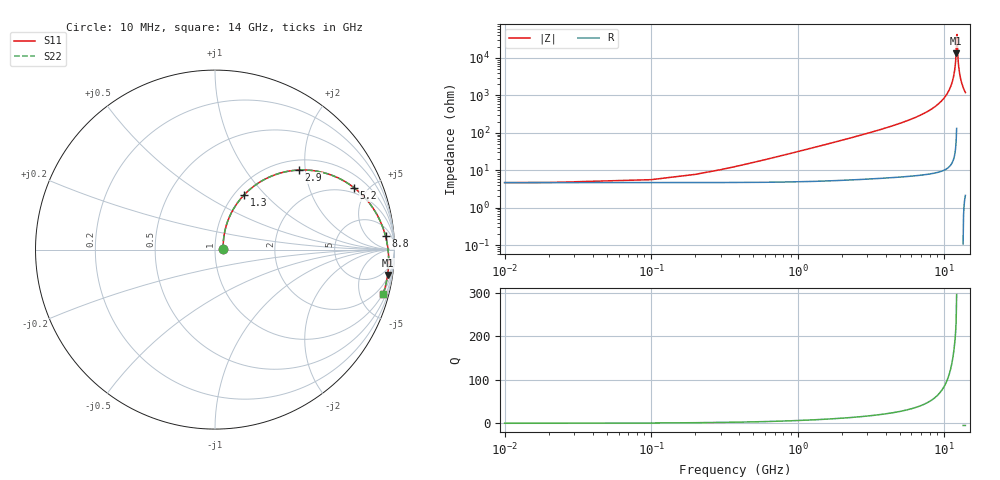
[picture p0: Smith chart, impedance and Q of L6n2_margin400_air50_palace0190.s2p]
! Created with skrf 2.2.0 (http://scikit-rf.org).
# GHz S DB R 50.0
! Port[1] = P1
! Port[2] = P2
!freq dBS11 angS11 dBS21 angS21 dBS12 angS12 dBS22 angS22
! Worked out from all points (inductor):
!   142 points, 10 MHz to 14 GHz, reference 50 ohm
!   read as one part in series: L = 4.92 nH near 500 MHz
!   highest Q = 231 at 12.1 GHz (marker M1), where L = 175 nH
!   self-resonance near 12.2 GHz
!   S11 on the Smith chart (normalised r, x): 10 MHz: 1.09, +0.01; 1.3 GHz: 1.11, +0.77; 2.9 GHz: 1.22, +1.84; 5.2 GHz: 1.66, +4.08; 8.8 GHz: 11, +19; 14 GHz: 0.94, -7.54
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0.01  -26.97 3.3  -0.40 -0.2  -0.40 -0.2  -26.97 3.3
0.6  -15.40 65.8  -0.58 -10.7  -0.58 -10.7  -15.40 65.8
1.3  -9.18 61.9  -1.09 -22.1  -1.09 -22.1  -9.18 61.9
2.4  -4.91 49.0  -2.36 -37.6  -2.36 -37.6  -4.91 49.0
2.9  -3.83 43.6  -3.06 -43.5  -3.06 -43.5  -3.83 43.6
4.7  -1.74 27.5  -5.95 -60.6  -5.95 -60.6  -1.74 27.5
5.2  -1.43 23.9  -6.83 -64.3  -6.83 -64.3  -1.43 23.9
7.1  -0.71 12.6  -10.51 -76.2  -10.51 -76.2  -0.71 12.6
8.8  -0.42 4.5  -14.68 -84.6  -14.68 -84.6  -0.42 4.5
9.4  -0.35 2.0  -16.55 -87.3  -16.55 -87.3  -0.36 2.0
10.9  -0.26 -4.0  -23.49 -93.4  -23.49 -93.4  -0.27 -4.0
11.4  -0.25 -5.8  -27.63 -95.3  -27.63 -95.3  -0.25 -5.8
11.7  -0.25 -6.9  -31.47 -96.5  -31.47 -96.5  -0.25 -6.9
11.9  -0.24 -7.6  -35.43 -97.2  -35.43 -97.2  -0.25 -7.6
12.1  -0.24 -8.3  -42.77 -98.0  -42.77 -98.0  -0.24 -8.4
12.2  -0.24 -8.7  -52.10 -98.4  -52.10 -98.4  -0.24 -8.7
12.3  -0.24 -9.1  -52.84 81.4  -52.84 81.4  -0.24 -9.1
12.4  -0.24 -9.4  -43.07 80.9  -43.07 80.9  -0.24 -9.4
12.5  -0.24 -9.8  -38.61 80.6  -38.61 80.6  -0.25 -9.8
12.7  -0.25 -10.5  -33.51 79.8  -33.51 79.8  -0.25 -10.5
13.2  -0.25 -12.2  -27.10 78.0  -27.10 78.0  -0.26 -12.2
14  -0.28 -14.9  -21.94 75.2  -21.94 75.2  -0.28 -14.9
